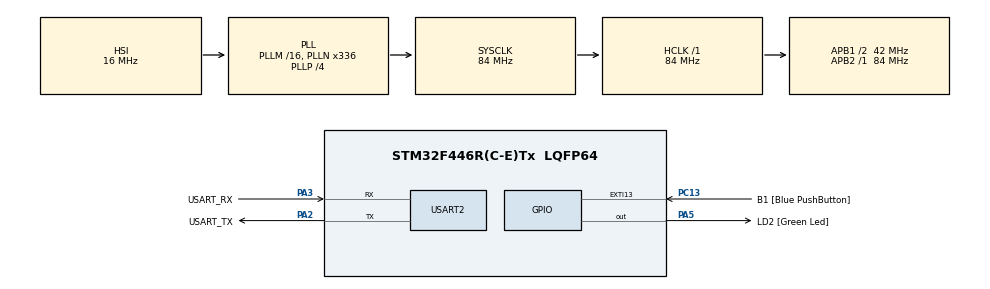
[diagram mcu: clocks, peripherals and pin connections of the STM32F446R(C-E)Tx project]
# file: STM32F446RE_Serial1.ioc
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Mcu.Family=STM32F4
Mcu.Name=STM32F446R(C-E)Tx
Mcu.Package=LQFP64
NVIC.PriorityGroup=NVIC_PRIORITYGROUP_0
PA13.GPIO_Label=TMS
PA13.Mode=Serial_Wire
PA13.Signal=SYS_JTMS-SWDIO
PA14.GPIO_Label=TCK
PA14.Mode=Serial_Wire
PA14.Signal=SYS_JTCK-SWCLK
PA2.GPIO_Label=USART_TX
PA2.Mode=Asynchronous
PA2.Signal=USART2_TX
PA3.GPIO_Label=USART_RX
PA3.Mode=Asynchronous
PA3.Signal=USART2_RX
PA5.GPIO_Label=LD2 [Green Led]
PA5.Signal=GPIO_Output
PB3.GPIO_Label=SWO
PB3.Signal=SYS_JTDO-SWO
PC13.GPIO_Label=B1 [Blue PushButton]
PC13.GPIO_ModeDefaultEXTI=GPIO_MODE_IT_FALLING
PC13.Signal=GPXTI13
PC14-OSC32_IN.Mode=LSE-External-Oscillator
PC14-OSC32_IN.Signal=RCC_OSC32_IN
PC15-OSC32_OUT.Mode=LSE-External-Oscillator
PC15-OSC32_OUT.Signal=RCC_OSC32_OUT
PH0-OSC_IN.Mode=HSE-External-Oscillator
PH0-OSC_IN.Signal=RCC_OSC_IN
PH1-OSC_OUT.Mode=HSE-External-Oscillator
PH1-OSC_OUT.Signal=RCC_OSC_OUT
ProjectManager.HeapSize=0x200
ProjectManager.StackSize=0x400
ProjectManager.TargetToolchain=TrueSTUDIO
RCC.48MHZClocksFreq_Value=84000000
RCC.AHBFreq_Value=84000000
RCC.APB1CLKDivider=RCC_HCLK_DIV2
RCC.APB1Freq_Value=42000000
RCC.APB1TimFreq_Value=84000000
RCC.APB2Freq_Value=84000000
RCC.APB2TimFreq_Value=84000000
RCC.CortexFreq_Value=84000000
RCC.FLatency-AdvancedSettings=FLASH_LATENCY_2
RCC.HCLKFreq_Value=84000000
RCC.HSE_VALUE=8000000
RCC.HSI_VALUE=16000000
RCC.PLLN=336
RCC.PLLP=RCC_PLLP_DIV4
RCC.SYSCLKFreq_VALUE=84000000
RCC.SYSCLKSource=RCC_SYSCLKSOURCE_PLLCLK
RCC.USBFreq_Value=168000000
RCC.VCOOutputFreq_Value=336000000
USART2.VirtualMode=VM_ASYNC
board=NUCLEO-F446RE

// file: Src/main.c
/* USER CODE BEGIN Header */
/**
  ******************************************************************************
  * @file           : main.c
  * @brief          : Main program body
  ******************************************************************************
  * @attention
  *
  * <h2><center>&copy; Copyright (c) 2019 STMicroelectronics.
  * All rights reserved.</center></h2>
  *
  * This software component is licensed by ST under BSD 3-Clause license,
  * the "License"; You may not use this file except in compliance with the
  * License. You may obtain a copy of the License at:
  *                        opensource.org/licenses/BSD-3-Clause
  *
  ******************************************************************************
  */
/* USER CODE END Header */

#include "main.h"

UART_HandleTypeDef huart2;

void SystemClock_Config(void);
static void MX_GPIO_Init(void);
static void MX_USART2_UART_Init(void);

/* USER CODE BEGIN 0 */
char rxbuf[1];
char txbuf1[] = "Other Key Pressed\r\n";
char txbuf2[] = "'a' Key Pressed\r\n";
char txbuf3[] = "'b' Key Pressed\r\n";
/* USER CODE END 0 */

int main(void)
{

  /* MCU Configuration--------------------------------------------------------*/

  /* Reset of all peripherals, Initializes the Flash interface and the Systick. */
  HAL_Init();

  /* Configure the system clock */
  SystemClock_Config();

  /* Initialize all configured peripherals */
  MX_GPIO_Init();
  MX_USART2_UART_Init();

  /* Infinite loop */
  /* USER CODE BEGIN WHILE */
  while (1)
  {

	  //HAL_GPIO_WritePin(LD2_GPIO_Port, LD2_Pin, GPIO_PIN_SET);
	  HAL_UART_Receive(&huart2,(uint8_t *)rxbuf, sizeof(rxbuf), 0xF);
	  if(rxbuf[0] != 0){
		  if(rxbuf[0] == 'a'){
			  HAL_UART_Transmit(&huart2,(uint8_t *)txbuf2, sizeof(txbuf2), 0xFFFF);
			  HAL_GPIO_WritePin(LD2_GPIO_Port, LD2_Pin, GPIO_PIN_SET);
		  }
		  else if(rxbuf[0] == 'b'){
			  HAL_UART_Transmit(&huart2,(uint8_t *)txbuf3, sizeof(txbuf3), 0xFFFF);
			  HAL_GPIO_WritePin(LD2_GPIO_Port, LD2_Pin, GPIO_PIN_RESET);
		  }else{
			  HAL_UART_Transmit(&huart2,(uint8_t *)txbuf1, sizeof(txbuf1), 0xFFFF);
		  }
		  rxbuf[0] = '\0';

	  }
	  /* USER CODE END WHILE */

  }
}

void SystemClock_Config(void)
{
  RCC_OscInitTypeDef RCC_OscInitStruct = {0};
  RCC_ClkInitTypeDef RCC_ClkInitStruct = {0};

  /** Configure the main internal regulator output voltage
  */
  __HAL_RCC_PWR_CLK_ENABLE();
  __HAL_PWR_VOLTAGESCALING_CONFIG(PWR_REGULATOR_VOLTAGE_SCALE3);
  /** Initializes the CPU, AHB and APB busses clocks
  */
  RCC_OscInitStruct.OscillatorType = RCC_OSCILLATORTYPE_HSI;
  RCC_OscInitStruct.HSIState = RCC_HSI_ON;
  RCC_OscInitStruct.HSICalibrationValue = RCC_HSICALIBRATION_DEFAULT;
  RCC_OscInitStruct.PLL.PLLState = RCC_PLL_ON;
  RCC_OscInitStruct.PLL.PLLSource = RCC_PLLSOURCE_HSI;
  RCC_OscInitStruct.PLL.PLLM = 16;
  RCC_OscInitStruct.PLL.PLLN = 336;
  RCC_OscInitStruct.PLL.PLLP = RCC_PLLP_DIV4;
  RCC_OscInitStruct.PLL.PLLQ = 2;
  RCC_OscInitStruct.PLL.PLLR = 2;
  if (HAL_RCC_OscConfig(&RCC_OscInitStruct) != HAL_OK)
  {
    Error_Handler();
  }
  /** Initializes the CPU, AHB and APB busses clocks
  */
  RCC_ClkInitStruct.ClockType = RCC_CLOCKTYPE_HCLK|RCC_CLOCKTYPE_SYSCLK
                              |RCC_CLOCKTYPE_PCLK1|RCC_CLOCKTYPE_PCLK2;
  RCC_ClkInitStruct.SYSCLKSource = RCC_SYSCLKSOURCE_PLLCLK;
  RCC_ClkInitStruct.AHBCLKDivider = RCC_SYSCLK_DIV1;
  RCC_ClkInitStruct.APB1CLKDivider = RCC_HCLK_DIV2;
  RCC_ClkInitStruct.APB2CLKDivider = RCC_HCLK_DIV1;

  if (HAL_RCC_ClockConfig(&RCC_ClkInitStruct, FLASH_LATENCY_2) != HAL_OK)
  {
    Error_Handler();
  }
}

static void MX_USART2_UART_Init(void)
{

  huart2.Instance = USART2;
  huart2.Init.BaudRate = 115200;
  huart2.Init.WordLength = UART_WORDLENGTH_8B;
  huart2.Init.StopBits = UART_STOPBITS_1;
  huart2.Init.Parity = UART_PARITY_NONE;
  huart2.Init.Mode = UART_MODE_TX_RX;
  huart2.Init.HwFlowCtl = UART_HWCONTROL_NONE;
  huart2.Init.OverSampling = UART_OVERSAMPLING_16;
  if (HAL_UART_Init(&huart2) != HAL_OK)
  {
    Error_Handler();
  }

}

static void MX_GPIO_Init(void)
{
  GPIO_InitTypeDef GPIO_InitStruct = {0};

  /* GPIO Ports Clock Enable */
  __HAL_RCC_GPIOC_CLK_ENABLE();
  __HAL_RCC_GPIOH_CLK_ENABLE();
  __HAL_RCC_GPIOA_CLK_ENABLE();
  __HAL_RCC_GPIOB_CLK_ENABLE();

  /*Configure GPIO pin Output Level */
  HAL_GPIO_WritePin(LD2_GPIO_Port, LD2_Pin, GPIO_PIN_RESET);

  /*Configure GPIO pin : B1_Pin */
  GPIO_InitStruct.Pin = B1_Pin;
  GPIO_InitStruct.Mode = GPIO_MODE_IT_FALLING;
  GPIO_InitStruct.Pull = GPIO_NOPULL;
  HAL_GPIO_Init(B1_GPIO_Port, &GPIO_InitStruct);

  /*Configure GPIO pin : LD2_Pin */
  GPIO_InitStruct.Pin = LD2_Pin;
  GPIO_InitStruct.Mode = GPIO_MODE_OUTPUT_PP;
  GPIO_InitStruct.Pull = GPIO_NOPULL;
  GPIO_InitStruct.Speed = GPIO_SPEED_FREQ_LOW;
  HAL_GPIO_Init(LD2_GPIO_Port, &GPIO_InitStruct);

}

void Error_Handler(void)
{
}

/************************ (C) COPYRIGHT STMicroelectronics *****END OF FILE****/
